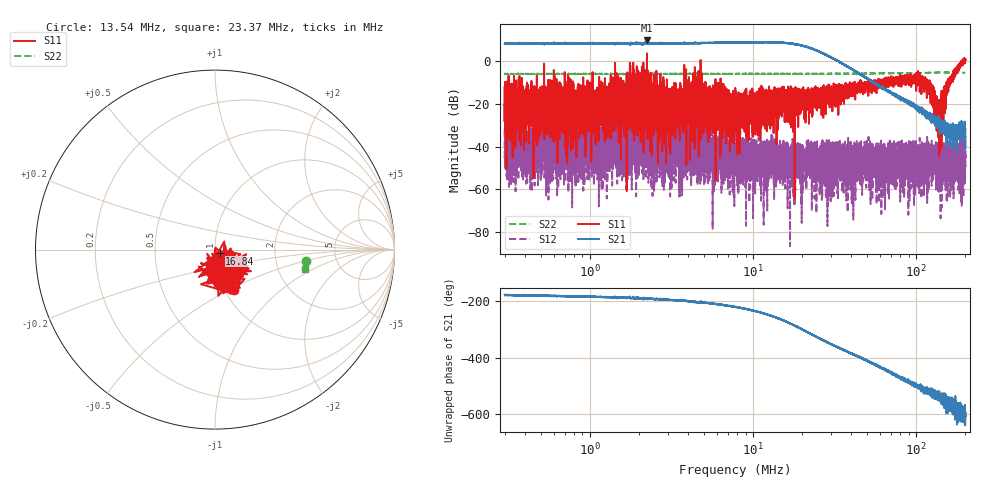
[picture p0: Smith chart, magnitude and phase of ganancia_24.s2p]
# Hz S DB R 50
! CMT, M5065, 19127446, 24.2.4/2
! Date: 11/1/2024 4:29:00 PM
! Data: Format (Calibration Info)
! Freq	S11:dB/Ang(F2)	S21:dB/Ang(F2)	S12:dB/Ang(F2)	S22:dB/Ang(F2)
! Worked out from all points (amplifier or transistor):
!   9000 points, 300 kHz to 200 MHz, reference 50 ohm
!   highest |S21| = 9.8 dB at 2.236 MHz (marker M1)
!   |S21| within 3 dB of that: start of sweep to 21.08 MHz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
!   unconditionally stable (mu >= 1): 2.237 MHz to 4.766 MHz; 4.771 MHz to 188.9 MHz; 189.4 MHz to 191.5 MHz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
!   at 886.8 kHz: K = 9.79, MAG = 9.8 dB, |S12| = -37.0 dB
!   at 7.749 MHz: K = 48.46, MAG = 10.2 dB, |S12| = -51.3 dB
!   at 200 MHz: K = -214.07, MSG = 1.9 dB, |S12| = -35.8 dB
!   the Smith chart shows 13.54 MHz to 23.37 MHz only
!   S11 on the Smith chart (normalised r, x): 13.54 MHz: 1.10, -0.53; 16.84 MHz: 1.05, -0.04; 23.37 MHz: 1.15, -0.36
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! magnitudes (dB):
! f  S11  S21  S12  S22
! 300 kHz  -12.0  8.3  -45.6  -5.9
! 309.9 kHz  -22.6  8.5  -41.5  -5.9
! 345.1 kHz  -17.8  8.4  -34.9  -5.8
! 886.8 kHz  -17.4  8.5  -37.0  -5.9
! 1.014 MHz  -24.6  8.5  -37.6  -5.8
! 1.094 MHz  -22.2  8.5  -39.8  -5.9
! 2.236 MHz  3.8  9.8  -42.8  -5.9
! 2.621 MHz  -11.6  8.7  -43.8  -5.9
! 5.03 MHz  -20.2  8.6  -37.4  -5.9
! 5.622 MHz  -18.9  8.8  -41.2  -5.8
! 7.749 MHz  -22.6  8.9  -51.3  -5.8
! 13.54 MHz  -12.1  9.1  -40.8  -5.8
! 16.84 MHz  -29.4  8.3  -46.4  -5.9
! 22.91 MHz  -17.0  6.0  -70.1  -5.8
! 23.37 MHz  -14.9  5.8  -43.0  -5.8
! 67.71 MHz  -10.0  -14.1  -51.6  -5.6
! 111.5 MHz  -9.7  -24.3  -46.8  -5.4
! 123.6 MHz  -14.3  -26.0  -53.3  -5.3
! 138.8 MHz  -21.1  -30.6  -46.7  -5.2
! 156.3 MHz  -11.8  -30.3  -44.6  -5.2
! 189.2 MHz  -1.0  -27.9  -38.8  -5.3
! 200 MHz  1.0  -31.9  -35.8  -5.3
